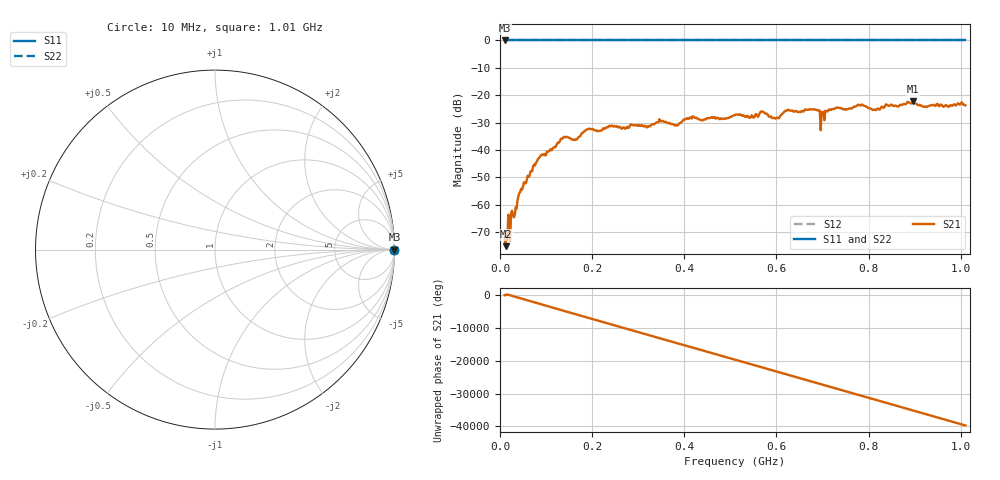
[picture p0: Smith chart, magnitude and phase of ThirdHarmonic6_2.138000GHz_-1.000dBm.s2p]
! 8/17/2025 1:32:41 AM
! C:\ANRITSUVNA\TEMP\TEMP.S2P
! CHANNEL.1
! TR.MEASUREMENT
! RAW.DATA
! RF.CORRECTION.OFF
! AVERAGING.OFF
! IF.BANDWIDTH: 5KHZ
! SWEEPTYPE:  FREQ.SWEEP(Linear)
! Reference Plane Port Info
! PORT:  PORT1  PORT2
! DISTANCE:  0  m  0  m
! TIME:  0  s  0  s
! PHASE.OFFSET:  0  deg.  0  deg.
! LOSS:  0  dB  0  dB
! REF.LOSS:  0  dB  0  dB
! REF.FREQ:  0  Hz  0  Hz
! Power Info
! POWER:  -20  dBm  -20  dBm
! EFF.POWER:  -20  dBm  -20  dBm
! SOURCE.ATTEN:  0  dB  0  dB
! TEST.ATTEN:  0  dB  0  dB
# GHZ S RI R 50.0
! FREQ.GHZ  S11RE  S11IM  S21RE  S21IM  S12RE  S12IM  S22RE  S22IM
!; PortSelection: Port_12
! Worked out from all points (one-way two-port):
!   501 points, 10 MHz to 1.01 GHz, reference 50 ohm
!   highest |S21| = -22.23 dB at 896 MHz (marker M1); lowest = -75.2 dB at 12 MHz (marker M2)
!   lowest |S11| = 0.0 dB at 10 MHz (marker M3)
!   |S11| at or under -10 dB: nowhere
!   |S22| runs from 0.0 to 0.0 dB; largest |S21 - S12| = 1.1
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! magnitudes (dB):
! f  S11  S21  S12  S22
! 10 MHz  0.0  -71.9  0.0  0.0
! 12 MHz  0.0  -75.2  0.0  0.0
! 34 MHz  0.0  -61.0  0.0  0.0
! 42 MHz  0.0  -55.8  0.0  0.0
! 86 MHz  0.0  -42.7  0.0  0.0
! 136 MHz  0.0  -35.8  0.0  0.0
! 164 MHz  0.0  -36.1  0.0  0.0
! 178 MHz  0.0  -33.8  0.0  0.0
! 344 MHz  0.0  -29.9  0.0  0.0
! 382 MHz  0.0  -30.9  0.0  0.0
! 416 MHz  0.0  -28.5  0.0  0.0
! 510 MHz  0.0  -27.3  0.0  0.0
! 546 MHz  0.0  -27.3  0.0  0.0
! 570 MHz  0.0  -26.0  0.0  0.0
! 602 MHz  0.0  -28.2  0.0  0.0
! 622 MHz  0.0  -25.7  0.0  0.0
! 678 MHz  0.0  -25.2  0.0  0.0
! 700 MHz  0.0  -26.1  0.0  0.0
! 730 MHz  0.0  -24.5  0.0  0.0
! 844 MHz  0.0  -23.9  0.0  0.0
! 896 MHz  0.0  -22.2  0.0  0.0
! 1.01 GHz  0.0  -23.7  0.0  0.0
